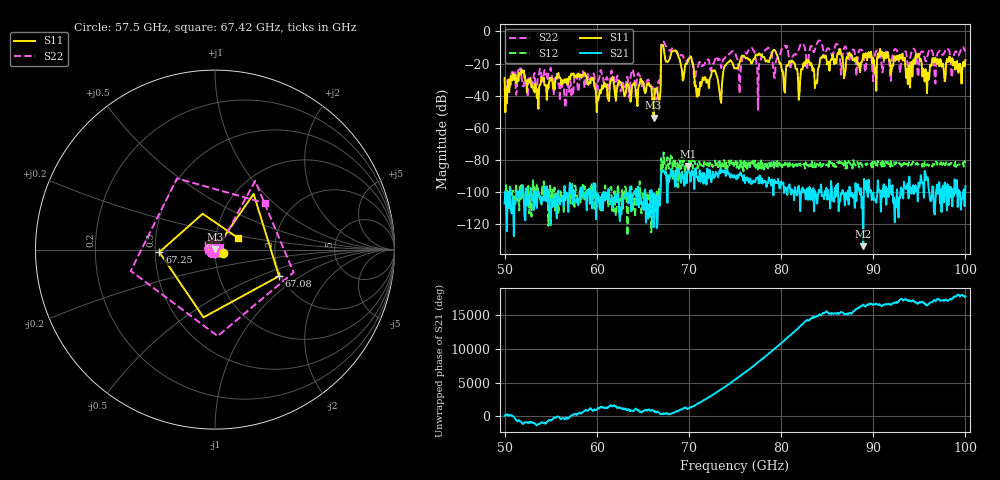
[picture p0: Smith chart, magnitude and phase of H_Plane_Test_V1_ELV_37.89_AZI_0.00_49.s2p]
! 11/27/2026 8:34:24 AM
! C:\ANRITSUVNA\TEMP\TEMP.S2P
! CHANNEL.1
! TR.MEASUREMENT
! RAW.DATA
# HZ S RI R 50.0
! FREQ.HZ  S11RE  S11IM  S21RE  S21IM  S12RE  S12IM  S22RE  S22IM
!; PortSelection: Port_12
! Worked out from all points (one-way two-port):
!   601 points, 50 GHz to 100 GHz, reference 50 ohm
!   highest |S21| = -83.88 dB at 69.92 GHz (marker M1); lowest = -134.0 dB at 88.92 GHz (marker M2)
!   lowest |S11| = -53.7 dB at 66.17 GHz (marker M3), VSWR 1.00, Z = 50.1 + j0.153 ohm
!   |S11| at or under -10 dB: start of sweep to 67 GHz; 67.24 GHz to end of sweep
!   |S22| runs from -48.9 to -5.6 dB; largest |S21 - S12| = 0.00015
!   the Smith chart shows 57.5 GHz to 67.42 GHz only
!   S11 on the Smith chart (normalised r, x): 57.5 GHz: 1.09, -0.05; 67.08 GHz: 1.95, -0.68; 67.25 GHz: 0.53, -0.02; 67.42 GHz: 1.29, +0.17
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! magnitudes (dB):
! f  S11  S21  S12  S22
! 50 GHz  -29.0  -107.4  -101.1  -35.3
! 57.5 GHz  -26.1  -99.3  -105.5  -34.5
! 58.42 GHz  -27.1  -97.2  -98.3  -24.8
! 60.17 GHz  -42.6  -103.3  -101.1  -30.1
! 66.17 GHz  -53.7  -122.1  -102.8  -34.0
! 66.67 GHz  -41.8  -106.6  -105.0  -31.6
! 67.08 GHz  -8.3  -87.4  -87.9  -6.8
! 67.25 GHz  -10.2  -86.6  -75.5  -6.3
! 67.42 GHz  -16.8  -89.1  -84.4  -8.4
! 69.92 GHz  -17.9  -83.9  -82.8  -17.3
! 70.92 GHz  -40.8  -90.7  -82.5  -23.1
! 75 GHz  -23.1  -90.3  -82.9  -13.0
! 77.58 GHz  -13.8  -94.9  -80.9  -21.7
! 78.5 GHz  -18.2  -94.8  -81.4  -10.8
! 79.33 GHz  -11.7  -93.3  -81.8  -28.8
! 80.25 GHz  -27.9  -94.2  -81.7  -9.4
! 83.42 GHz  -24.5  -105.2  -86.0  -10.8
! 88.92 GHz  -14.1  -134.0  -83.6  -13.9
! 91.67 GHz  -16.6  -103.2  -83.5  -15.2
! 94.83 GHz  -14.9  -106.0  -83.2  -28.3
! 95.83 GHz  -38.5  -91.0  -82.7  -16.4
! 100 GHz  -17.9  -96.5  -81.9  -12.5
